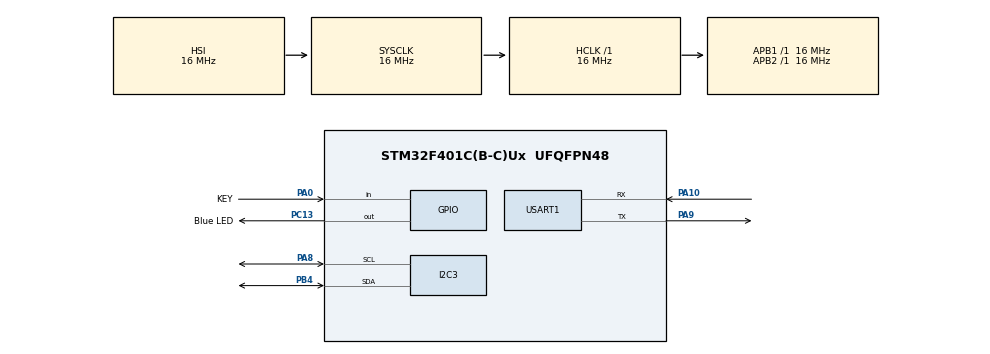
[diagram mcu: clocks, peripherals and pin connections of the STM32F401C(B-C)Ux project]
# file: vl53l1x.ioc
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I2C3.I2C_Mode=I2C_Fast
Mcu.Family=STM32F4
Mcu.Name=STM32F401C(B-C)Ux
Mcu.Package=UFQFPN48
NVIC.PriorityGroup=NVIC_PRIORITYGROUP_4
PA0-WKUP.GPIO_Label=KEY
PA0-WKUP.Signal=GPIO_Input
PA10.Mode=Asynchronous
PA10.Signal=USART1_RX
PA8.Mode=I2C
PA8.Signal=I2C3_SCL
PA9.Mode=Asynchronous
PA9.Signal=USART1_TX
PB4.Mode=I2C
PB4.Signal=I2C3_SDA
PC13-ANTI_TAMP.GPIO_Label=Blue LED
PC13-ANTI_TAMP.GPIO_PuPd=GPIO_PULLDOWN
PC13-ANTI_TAMP.Signal=GPIO_Output
ProjectManager.HeapSize=0x200
ProjectManager.StackSize=0x400
ProjectManager.TargetToolchain=Makefile
RCC.AHBFreq_Value=16000000
RCC.APB1Freq_Value=16000000
RCC.APB2Freq_Value=16000000
RCC.CortexFreq_Value=16000000
RCC.HSE_VALUE=25000000
RCC.HSI_VALUE=16000000
RCC.LSE_VALUE=32768
RCC.SYSCLKFreq_VALUE=16000000
RCC.VCOOutputFreq_Value=192000000
USART1.VirtualMode=VM_ASYNC
board=custom

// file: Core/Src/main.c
/* USER CODE BEGIN Header */
/**
  ******************************************************************************
  * @file           : main.c
  * @brief          : Main program body
  ******************************************************************************
  * @attention
  *
  * Copyright (c) 2023 STMicroelectronics.
  * All rights reserved.
  *
  * This software is licensed under terms that can be found in the LICENSE file
  * in the root directory of this software component.
  * If no LICENSE file comes with this software, it is provided AS-IS.
  *
  ******************************************************************************
  */
/* USER CODE END Header */
#include "main.h"
#include "i2c.h"
#include "usart.h"
#include "gpio.h"

/* USER CODE BEGIN Includes */
#include "VL53L1X_api.h"
#include "VL53L1X_calibration.h"
/* USER CODE END Includes */

/* USER CODE BEGIN PD */
#define VL53L1X_ADDR 0x52
/* USER CODE END PD */

void SystemClock_Config(void);

int main(void)
{
  /* USER CODE BEGIN 1 */
  uint16_t status = 0;
  uint8_t sensor_state = 0;
  uint8_t is_data_ready = 0;
  uint8_t range_status;
  uint16_t distance;
  uint16_t signal_rate;
  uint16_t ambient_rate;
  uint16_t spadnum;
  uint8_t msg[100], len;
  /* USER CODE END 1 */

  /* MCU Configuration--------------------------------------------------------*/

  /* Reset of all peripherals, Initializes the Flash interface and the Systick. */
  HAL_Init();

  /* Configure the system clock */
  SystemClock_Config();

  /* Initialize all configured peripherals */
  MX_GPIO_Init();
  MX_I2C3_Init();
  MX_USART1_UART_Init();
  /* USER CODE BEGIN 2 */
  len = snprintf((char *)msg, 100, "Start...%s", "\n\r");
  HAL_UART_Transmit(&huart1, msg, len, 100);
  while (sensor_state == 0) {
      status = VL53L1X_BootState(VL53L1X_ADDR, &sensor_state);
  }

  len = snprintf((char *)msg, 100, "Chip booted!%s", "\n\r");
  HAL_UART_Transmit(&huart1, msg, len, 100);

  status = VL53L1X_SensorInit(VL53L1X_ADDR);
  status = VL53L1X_SetDistanceMode(VL53L1X_ADDR, 2);
  status = VL53L1X_SetTimingBudgetInMs(VL53L1X_ADDR, 100);
  status = VL53L1X_SetInterMeasurementInMs(VL53L1X_ADDR, 100);
  status = VL53L1X_StartRanging(VL53L1X_ADDR);
  /* USER CODE END 2 */

  /* Infinite loop */
  /* USER CODE BEGIN WHILE */
  while (1)
  {
    while(!is_data_ready) {
      status = VL53L1X_CheckForDataReady(VL53L1X_ADDR, &is_data_ready);
      HAL_Delay(2);
    }

    is_data_ready = 0;
    status = VL53L1X_GetRangeStatus(VL53L1X_ADDR, &range_status);
	  status = VL53L1X_GetDistance(VL53L1X_ADDR, &distance);
	  status = VL53L1X_GetSignalRate(VL53L1X_ADDR, &signal_rate);
	  status = VL53L1X_GetAmbientRate(VL53L1X_ADDR, &ambient_rate);
	  status = VL53L1X_GetSpadNb(VL53L1X_ADDR, &spadnum);
	  status = VL53L1X_ClearInterrupt(VL53L1X_ADDR);
    len = snprintf((char *)msg, 100, "%d, %d, %d, %d\n\r",
                                      range_status,
                                      distance,
                                      ambient_rate,
                                      spadnum);
    HAL_UART_Transmit(&huart1, msg, len, 100);
    /* USER CODE END WHILE */

  }
}

void SystemClock_Config(void)
{
  RCC_OscInitTypeDef RCC_OscInitStruct = {0};
  RCC_ClkInitTypeDef RCC_ClkInitStruct = {0};

  /** Configure the main internal regulator output voltage
  */
  __HAL_RCC_PWR_CLK_ENABLE();
  __HAL_PWR_VOLTAGESCALING_CONFIG(PWR_REGULATOR_VOLTAGE_SCALE2);

  /** Initializes the RCC Oscillators according to the specified parameters
  * in the RCC_OscInitTypeDef structure.
  */
  RCC_OscInitStruct.OscillatorType = RCC_OSCILLATORTYPE_HSI;
  RCC_OscInitStruct.HSIState = RCC_HSI_ON;
  RCC_OscInitStruct.HSICalibrationValue = RCC_HSICALIBRATION_DEFAULT;
  RCC_OscInitStruct.PLL.PLLState = RCC_PLL_NONE;
  if (HAL_RCC_OscConfig(&RCC_OscInitStruct) != HAL_OK)
  {
    Error_Handler();
  }

  /** Initializes the CPU, AHB and APB buses clocks
  */
  RCC_ClkInitStruct.ClockType = RCC_CLOCKTYPE_HCLK|RCC_CLOCKTYPE_SYSCLK
                              |RCC_CLOCKTYPE_PCLK1|RCC_CLOCKTYPE_PCLK2;
  RCC_ClkInitStruct.SYSCLKSource = RCC_SYSCLKSOURCE_HSI;
  RCC_ClkInitStruct.AHBCLKDivider = RCC_SYSCLK_DIV1;
  RCC_ClkInitStruct.APB1CLKDivider = RCC_HCLK_DIV1;
  RCC_ClkInitStruct.APB2CLKDivider = RCC_HCLK_DIV1;

  if (HAL_RCC_ClockConfig(&RCC_ClkInitStruct, FLASH_LATENCY_0) != HAL_OK)
  {
    Error_Handler();
  }
}

void Error_Handler(void)
{
  __disable_irq();
  while (1)
  {
  }
}
